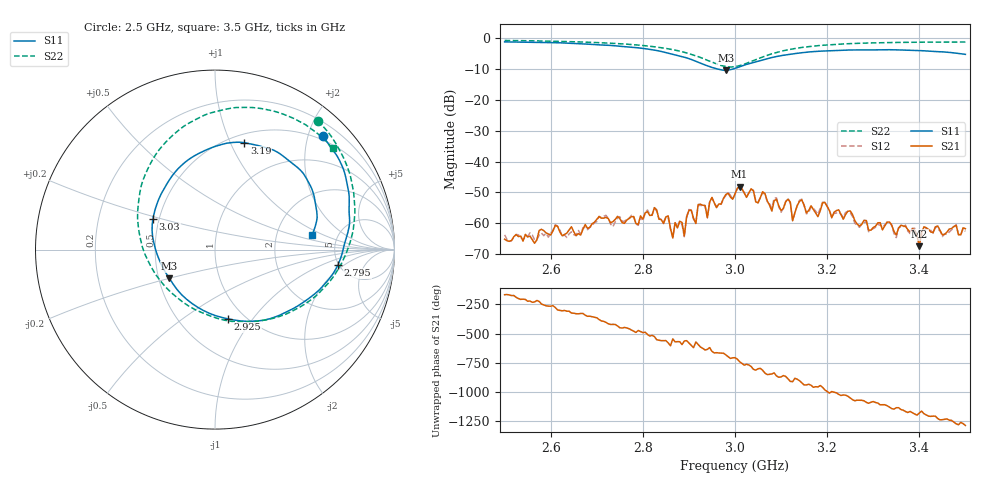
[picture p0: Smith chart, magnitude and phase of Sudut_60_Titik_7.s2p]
# Hz S RI R 50
! CMT, C1220, 16058040, 17.2.0/1
! Date: 15/08/2018 10:07:06
! Data: Format (Calibration Info)
! Freq  S11: Re/Im (F2)  S21: Re/Im (F2)  S12: Re/Im (F2)  S22: Re/Im (F2)
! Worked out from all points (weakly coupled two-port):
!   201 points, 2.5 GHz to 3.5 GHz, reference 50 ohm
!   highest |S21| = -48.12 dB at 3.01 GHz (marker M1); lowest = -67.5 dB at 3.4 GHz (marker M2)
!   lowest |S11| = -10.4 dB at 2.98 GHz (marker M3), VSWR 1.86, Z = 28.4 - j9.96 ohm
!   |S11| at or under -10 dB: 2.962 GHz to 2.996 GHz (33.27 MHz wide, 1.12 % of centre)
!   |S22| runs from -9.4 to -0.7 dB; largest |S21 - S12| = 0.00029
!   S11 on the Smith chart (normalised r, x): 2.5 GHz: 0.43, +2.26; 2.795 GHz: 4.91, -1.60; 2.925 GHz: 0.84, -0.77; 3.03 GHz: 0.46, +0.18; 3.19 GHz: 0.59, +1.13; 3.5 GHz: 3.22, +0.73
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2.5e9  0.5992 0.6324  -0.000537 -0.000123  -0.000618 -0.000188  0.5729 0.7174
2.67e9  0.7461 0.3116  0.000672 0.00043  0.000726 0.000423  0.744 0.443
2.795e9  0.6846 -0.0855  -0.000688 -0.00112  -0.000661 -0.00105  0.7633 0.0799
2.835e9  0.5774 -0.2279  -0.00112 0.000315  -0.00113 0.000297  0.7053 -0.0759
2.89e9  0.3057 -0.3852  -0.000575 0.000243  -0.000531 0.000286  0.5093 -0.2977
2.9e9  0.2439 -0.397  -0.00125 0.00102  -0.00132 0.00102  0.4526 -0.3308
2.915e9  0.1429 -0.3975  -0.000853 0.000504  -0.000866 0.000516  0.3586 -0.3725
2.925e9  0.0729 -0.3863  -0.000581 0.00195  -0.000636 0.00183  0.2895 -0.3908
2.94e9  -0.0315 -0.3549  8.47e-05 0.00123  2.69e-05 0.00122  0.1728 -0.402
2.98e9  -0.2549 -0.1593  0.00225 0.00185  0.00214 0.00183  -0.1441 -0.3161
3e9  -0.323 -0.0253  0.00287 0.000774  0.00287 0.000653  -0.2778 -0.2059
3.01e9  -0.3413 0.0407  0.00371 -0.00129  0.00356 -0.00119  -0.3325 -0.1362
3.03e9  -0.3465 0.1684  0.00209 -0.00228  0.00214 -0.00226  -0.4051 0.0157
3.115e9  -0.0948 0.5334  -0.00237 -0.000623  -0.00244 -0.000525  -0.2932 0.5777
3.125e9  -0.0562 0.5523  -0.00108 0.000185  -0.00111 0.000152  -0.2547 0.6187
3.17e9  0.1011 0.597  -0.000896 0.00142  -0.00105 0.0014  -0.0783 0.7399
3.19e9  0.1638 0.5957  -0.00113 0.00179  -0.00101 0.00195  -0.00362 0.7668
3.29e9  0.4112 0.4959  0.000749 -0.000193  0.000714 -0.000135  0.3064 0.7762
3.335e9  0.4882 0.4289  0.000718 -0.000762  0.000657 -0.000837  0.4083 0.744
3.4e9  0.5499 0.3067  -5.88e-05 -0.00042  -7.98e-05 -0.000474  0.5257 0.68
3.41e9  0.555 0.2837  -0.000203 -0.000849  -0.000167 -0.000755  0.5417 0.6687
3.5e9  0.5404 0.0799  -0.000744 0.000331  -0.000649 0.000345  0.6563 0.5644
